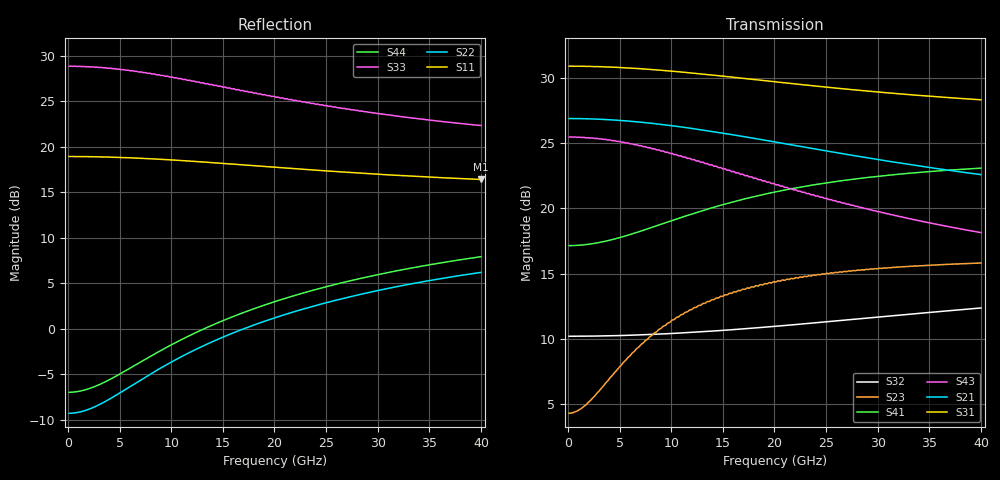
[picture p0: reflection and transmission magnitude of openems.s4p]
! BV_ts_m2_per0: ThunderScope M.2 PCIe RX lane 0 (PER0_P/N), pair via F.Cu → In3.Cu, pitch 0.53 mm
! stackup: Thunderscope_Rev5.3 from the board file and its kisi.json
! ports: 1 P in, 2 N in, 3 P out, 4 N out
! openEMS 0.37.0, staircase, fine mesh (dfine 0.0175 mm), 3756215 cells
# Hz S RI R 50
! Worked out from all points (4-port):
!   400 points, 100 MHz to 40 GHz, reference 50 ohm
!   strongest paths, dB at 100 MHz, 10.1 GHz, 20.1 GHz, 30.1 GHz, 40 GHz:
!     S31: 30.9, 30.5, 29.7, 28.9, 28.3
!     S21: 26.9, 26.3, 25.1, 23.7, 22.6
!     S43: 25.5, 24.2, 21.8, 19.8, 18.2
!     S41: 17.1, 19.1, 21.3, 22.5, 23.1
!     S23: 4.3, 11.4, 14.4, 15.4, 15.8
!     S32: 10.2, 10.4, 11.0, 11.7, 12.4
!   lowest |S11| = 16.4 dB at 40 GHz (marker M1)
!   |S11| at or under -10 dB: nowhere
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1e8  -8.861 -0.0512  -0.6798 0.0023  2.94 -0.0395  -1.23 -0.000357
     22.1 0.0945  0.3441 -0.00555  1.641 0.0282  2.454 -0.00209
     35.07 0.0568  -3.239 -0.00832  27.74 -0.1604  2.173 -0.0117
     7.202 -0.0367  -2.633 -0.00144  18.76 -0.1396  -0.4488 -0.00673
3.2e9  -8.669 -1.62  -0.6805 0.073  2.729 -1.149  -1.23 -0.0115
       21.75 2.993  0.3459 -0.1772  1.819 0.933  2.453 -0.0666
       34.86 1.814  -3.236 -0.2683  27.05 -3.935  2.169 -0.3728
       7.339 -1.154  -2.632 -0.0483  18.12 -3.626  -0.4512 -0.2153
7e9  -7.989 -3.359  -0.6833 0.1591  2.032 -2.228  -1.231 -0.0251
     20.49 6.203  0.3526 -0.3865  2.388 1.801  2.45 -0.1453
     34.09 3.757  -3.226 -0.5853  24.66 -7.647  2.153 -0.8131
     7.818 -2.392  -2.63 -0.1052  15.91 -7.034  -0.4602 -0.4695
1.3e10  -6.289 -5.375  -0.6914 0.2928  0.6299 -3.054  -1.232 -0.0461
        17.34 9.924  0.3727 -0.7112  3.53 2.464  2.44 -0.2672
        32.17 6.003  -3.194 -1.077  19.91 -10.51  2.104 -1.496
        9.019 -3.834  -2.624 -0.1937  11.53 -9.657  -0.4875 -0.8638
1.89e10  -4.434 -6.442  -0.7034 0.4198  -0.4919 -3.146  -1.233 -0.0662
         13.91 11.89  0.4026 -1.019  4.431 2.533  2.426 -0.3827
         30.07 7.181  -3.147 -1.543  15.99 -10.84  2.032 -2.143
         10.33 -4.604  -2.614 -0.2772  7.942 -9.957  -0.5286 -1.237
2.49e10  -2.763 -6.856  -0.7191 0.5423  -1.279 -2.98  -1.235 -0.0855
         10.82 12.65  0.4415 -1.317  5.072 2.393  2.407 -0.4938
         28.18 7.621  -3.086 -1.994  13.34 -10.3  1.936 -2.766
         11.5 -4.911  -2.602 -0.3581  5.487 -9.444  -0.5826 -1.597
4e10  -0.00313 -6.628  -0.7662 0.8102  -2.253 -2.419  -1.241 -0.1278
      5.706 12.21  0.559 -1.967  5.87 1.928  2.347 -0.7342
      25.03 7.294  -2.9 -2.978  10.04 -8.436  1.635 -4.117
      13.44 -4.79  -2.564 -0.5343  2.43 -7.708  -0.7525 -2.378
